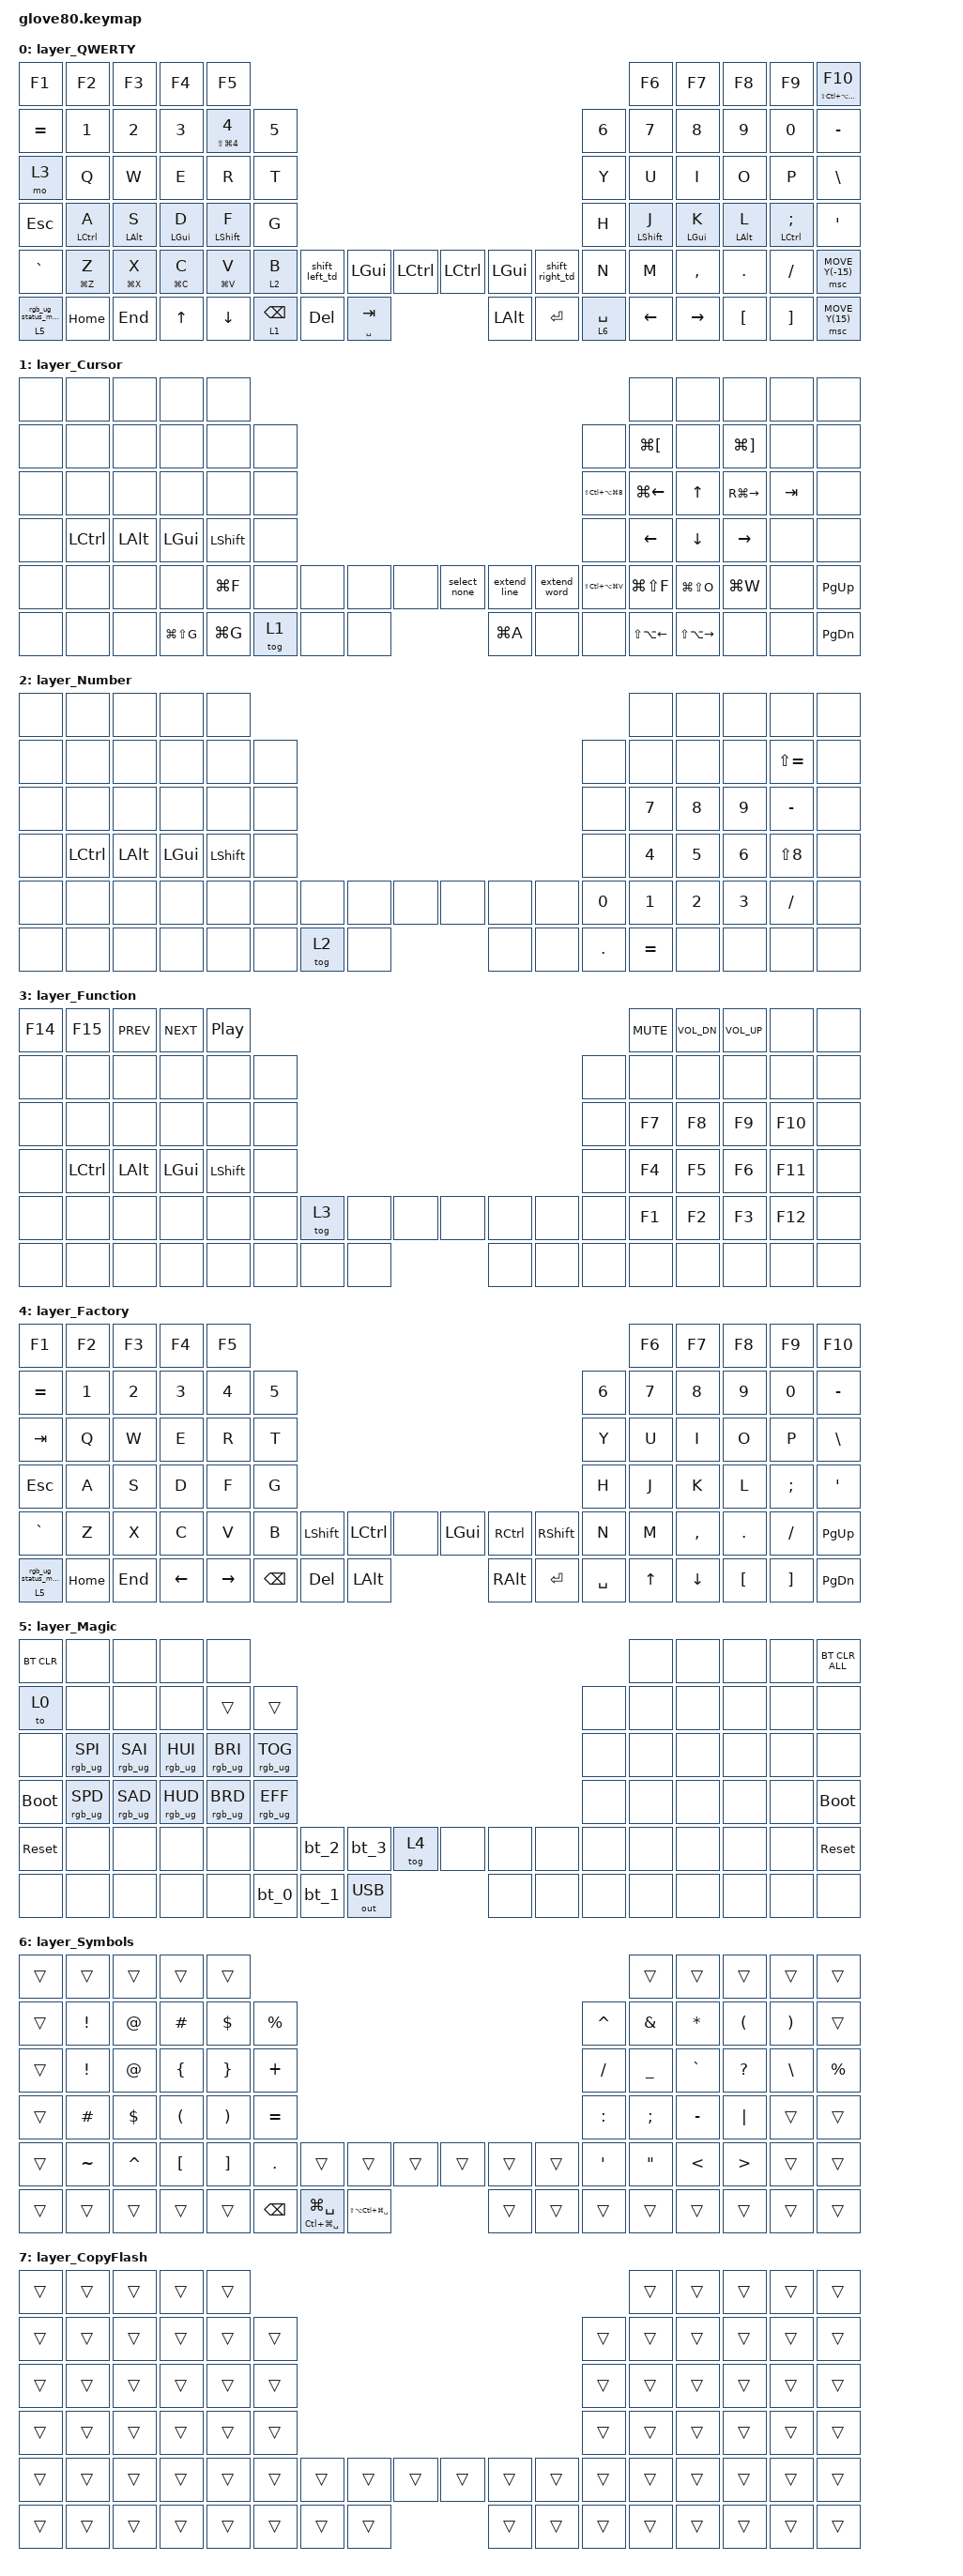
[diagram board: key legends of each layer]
#include <dt-bindings/zmk/rgb_colors.h>
#include <input/processors.dtsi>
#include <behaviors.dtsi>
#include <dt-bindings/zmk/bt.h>
#include <dt-bindings/zmk/keys.h>
#include <dt-bindings/zmk/outputs.h>
#include <dt-bindings/zmk/pointing.h>
#include <dt-bindings/zmk/rgb.h>

/* Per-key RGB underglow */

/ {
    underglow-layer {
        compatible = "zmk,underglow-layer";

        BaseLayer {
            bindings = <
&ug BLACK  &ug BLACK  &ug BLACK  &ug BLACK  &ug BLACK                                                     &ug BLACK  &ug BLACK  &ug BLACK  &ug BLACK  &ug 0x00FF80
&ug BLACK  &ug BLACK  &ug BLACK  &ug BLACK  &ug 0x00FF80  &ug BLACK                                   &ug BLACK  &ug BLACK  &ug BLACK  &ug BLACK  &ug BLACK  &ug BLACK
&ug 0x94E3FE  &ug BLACK  &ug BLACK  &ug BLACK  &ug BLACK  &ug BLACK                                   &ug BLACK  &ug BLACK  &ug BLACK  &ug BLACK  &ug BLACK  &ug BLACK
&ug BLACK  &ug 0xFF00FF  &ug 0x00FFFF  &ug 0xFF6600  &ug YELLOW  &ug BLACK                                   &ug BLACK  &ug YELLOW  &ug 0xFF6600  &ug 0x00FFFF  &ug 0xFF00FF  &ug BLACK
&ug BLACK  &ug 0x4080FF  &ug RED  &ug GREEN  &ug ORANGE  &ug 0xFFE080  &ug_cl BLACK RED  &ug BLACK  &ug BLACK  &ug BLACK  &ug BLACK  &ug_cl BLACK RED  &ug BLACK  &ug BLACK  &ug BLACK  &ug BLACK  &ug BLACK  &ug BLACK
&ug 0x6B1FCE  &ug BLACK  &ug BLACK  &ug BLACK  &ug BLACK          &ug 0x6B1FCE  &ug BLACK  &ug 0x806000  &ug BLACK  &ug BLACK  &ug 0x6B1FCE          &ug BLACK  &ug BLACK  &ug BLACK  &ug BLACK  &ug BLACK
            >;

            layer-id = <0>;
        };

        Cursor {
            bindings = <
&ug BLACK  &ug BLACK  &ug BLACK  &ug BLACK  &ug BLACK                                                     &ug BLACK  &ug BLACK  &ug BLACK  &ug BLACK  &ug BLACK
&ug BLACK  &ug BLACK  &ug BLACK  &ug BLACK  &ug BLACK  &ug BLACK                                   &ug BLACK  &ug 0x00FF80  &ug BLACK  &ug 0x00FF80  &ug BLACK  &ug BLACK
&ug BLACK  &ug BLACK  &ug BLACK  &ug BLACK  &ug BLACK  &ug BLACK                                   &ug BLACK  &ug 0x0040FF  &ug 0xFFE0B0  &ug 0x0040FF  &ug BLACK  &ug BLACK
&ug BLACK   &ug 0xFF00FF  &ug 0x00FFFF  &ug 0xFFFFAA  &ug YELLOW  &ug BLACK                                   &ug BLACK  &ug 0xFFE0B0  &ug 0xFFE0B0  &ug 0xFFE0B0  &ug BLACK  &ug BLACK
&ug_cl BLACK RED     &ug BLACK     &ug BLACK     &ug BLACK     &ug 0x7A00FF  &ug BLACK  &ug BLACK  &ug BLACK  &ug 0xFFD900  &ug 0xFFD900  &ug 0xFFD900  &ug BLACK  &ug ORANGE  &ug 0xFF80BF  &ug 0x00FF80  &ug 0xFFD900  &ug BLACK  &ug_cl 0x99F5FF RED
&ug BLACK     &ug BLACK     &ug BLACK     &ug 0x7A00FF  &ug 0x7A00FF          &ug BLACK  &ug BLACK  &ug BLACK  &ug 0x00FF80  &ug BLACK  &ug BLACK          &ug 0x7A00FF  &ug 0x7A00FF  &ug BLACK     &ug BLACK  &ug 0x99F5FF
            >;

            layer-id = <1>;
        };

        Number {
            bindings = <
&ug BLACK  &ug BLACK  &ug BLACK  &ug BLACK  &ug BLACK                                                     &ug BLACK  &ug BLACK  &ug BLACK  &ug BLACK  &ug BLACK
&ug BLACK  &ug BLACK  &ug BLACK  &ug BLACK  &ug BLACK  &ug BLACK                                   &ug BLACK  &ug BLACK  &ug BLACK  &ug BLACK  &ug GREEN  &ug BLACK
&ug BLACK  &ug BLACK  &ug BLACK  &ug BLACK  &ug BLACK  &ug BLACK                                   &ug BLACK  &ug 0xFFD900  &ug 0xFFD900  &ug 0xFFD900  &ug YELLOW  &ug BLACK
&ug BLACK   &ug 0xFF00FF  &ug 0x00FFFF  &ug 0xFFFFAA  &ug YELLOW  &ug BLACK                                   &ug BLACK  &ug 0xFFD900  &ug 0xFF7C4D  &ug 0xFFD900  &ug BLUE  &ug BLACK
&ug BLACK         &ug BLACK  &ug BLACK  &ug BLACK  &ug BLACK  &ug BLACK  &ug BLACK  &ug BLACK  &ug BLACK  &ug BLACK  &ug BLACK  &ug BLACK  &ug 0xFFD900  &ug 0xFFD900  &ug 0xFFD900  &ug 0xFFD900  &ug RED  &ug BLACK
&ug BLACK  &ug BLACK  &ug BLACK  &ug BLACK  &ug BLACK          &ug BLACK  &ug RED  &ug BLACK  &ug BLACK  &ug BLACK  &ug 0xFF80BF          &ug 0x00FF80  &ug BLACK  &ug BLACK  &ug BLACK  &ug BLACK
            >;

            layer-id = <2>;
        };

        Function {
            bindings = <
&ug 0x94E3FE  &ug 0x94E3FE  &ug 0x94E3FE  &ug 0x94E3FE  &ug 0x94E3FE                                                     &ug 0x94E3FE  &ug 0x94E3FE  &ug 0x94E3FE  &ug BLACK  &ug BLACK
&ug BLACK  &ug BLACK  &ug BLACK  &ug BLACK  &ug BLACK  &ug BLACK                                   &ug BLACK  &ug BLACK  &ug BLACK  &ug BLACK  &ug BLACK  &ug BLACK
&ug BLACK  &ug BLACK  &ug BLACK  &ug BLACK  &ug BLACK  &ug BLACK                                   &ug BLACK  &ug 0xFFFF00  &ug 0xFFD900  &ug 0xFFD900  &ug 0xFF80BF  &ug BLACK
&ug BLACK   &ug 0xFF00FF  &ug 0x00FFFF  &ug 0xFFFFAA  &ug YELLOW  &ug BLACK                                   &ug BLACK  &ug 0x00FFFF  &ug 0x99F5FF  &ug 0x99F5FF  &ug 0xFF80BF  &ug BLACK
&ug BLACK         &ug BLACK  &ug BLACK  &ug BLACK  &ug BLACK  &ug BLACK  &ug RED  &ug BLACK  &ug BLACK  &ug BLACK  &ug BLACK  &ug BLACK  &ug BLACK  &ug 0x00FF00  &ug 0x00FF80  &ug 0x00FF80  &ug 0xFF80BF  &ug BLACK
&ug BLACK  &ug BLACK  &ug BLACK  &ug BLACK  &ug BLACK          &ug BLACK  &ug BLACK  &ug BLACK  &ug BLACK  &ug BLACK  &ug BLACK          &ug BLACK  &ug BLACK  &ug BLACK  &ug BLACK  &ug BLACK
            >;

            layer-id = <3>;
        };

        Factory {
            bindings = <
&ug BLACK  &ug BLACK  &ug BLACK  &ug BLACK  &ug BLACK                                                     &ug BLACK  &ug BLACK  &ug BLACK  &ug BLACK  &ug BLACK
&ug BLACK  &ug BLACK  &ug BLACK  &ug BLACK  &ug BLACK  &ug BLACK                                   &ug BLACK  &ug BLACK  &ug BLACK  &ug BLACK  &ug BLACK  &ug BLACK
&ug BLACK  &ug BLACK  &ug BLACK  &ug BLACK  &ug BLACK  &ug BLACK                                   &ug BLACK  &ug BLACK  &ug BLACK  &ug BLACK  &ug BLACK  &ug BLACK
&ug BLACK  &ug BLACK  &ug BLACK  &ug BLACK  &ug BLACK  &ug BLACK                                   &ug BLACK  &ug BLACK  &ug BLACK  &ug BLACK  &ug BLACK  &ug BLACK
&ug_cl BLACK RED  &ug BLACK  &ug BLACK  &ug BLACK  &ug BLACK  &ug BLACK  &ug BLACK  &ug BLACK  &ug RED  &ug BLACK  &ug BLACK  &ug BLACK  &ug BLACK  &ug BLACK  &ug BLACK  &ug BLACK  &ug BLACK  &ug_cl BLACK RED
&ug RED  &ug BLACK  &ug BLACK  &ug BLACK  &ug BLACK          &ug BLACK  &ug BLACK  &ug BLACK  &ug BLACK  &ug BLACK  &ug BLACK          &ug BLACK  &ug BLACK  &ug BLACK  &ug BLACK  &ug BLACK
            >;

            layer-id = <4>;
        };

        Symbols {
            bindings = <
&ug BLACK  &ug BLACK  &ug BLACK  &ug BLACK  &ug BLACK                                                     &ug BLACK  &ug BLACK  &ug BLACK  &ug BLACK  &ug BLACK
&ug BLACK  &ug WHITE  &ug WHITE  &ug WHITE  &ug WHITE  &ug WHITE                                   &ug WHITE  &ug WHITE  &ug WHITE  &ug WHITE  &ug WHITE  &ug BLACK
&ug BLACK  &ug 0xFFD900  &ug 0xFFD900  &ug 0x7A00FF  &ug 0x7A00FF  &ug 0x00FF80                                   &ug 0x00FF80  &ug 0x00FF80  &ug 0xFFD900  &ug 0xFFD900  &ug 0xFFD900  &ug 0xFFD900
&ug BLACK  &ug 0xFFD900  &ug 0xFFD900  &ug 0x7A00FF  &ug 0x7A00FF  &ug 0x00FF80                                   &ug 0x99F5FF  &ug 0x99F5FF  &ug 0x00FF80  &ug 0x00FF80  &ug BLACK  &ug BLACK
&ug_cl BLACK RED  &ug 0x00FF80  &ug 0x00FF80  &ug 0x7A00FF  &ug 0x7A00FF  &ug 0xFFD900  &ug BLACK  &ug BLACK  &ug BLACK  &ug BLACK  &ug BLACK  &ug BLACK  &ug GREEN  &ug GREEN  &ug 0x7A00FF  &ug 0x7A00FF  &ug BLACK  &ug_cl BLACK RED
&ug BLACK  &ug BLACK  &ug BLACK  &ug BLACK  &ug BLACK          &ug WHITE  &ug 0x00FFFF  &ug 0xFF80BF  &ug BLACK  &ug BLACK  &ug BLACK          &ug BLACK  &ug BLACK  &ug BLACK  &ug BLACK  &ug BLACK
            >;

            layer-id = <6>;
        };

        CopyFlash {
            bindings = <
&ug 0x804020  &ug 0x804020  &ug 0x804020  &ug 0x804020  &ug 0x804020                                                     &trans  &trans  &trans  &trans  &trans
&ug 0x804020  &ug 0x804020  &ug 0x804020  &ug 0x804020  &ug 0x804020  &ug 0x804020                                   &trans  &trans  &trans  &trans  &trans  &trans
&ug 0x804020  &ug 0x804020  &ug 0x804020  &ug 0x804020  &ug 0x804020  &ug 0x804020                                   &trans  &trans  &trans  &trans  &trans  &trans
&ug 0x804020  &ug 0x804020  &ug 0x804020  &ug 0x804020  &ug 0x804020  &ug 0x804020                                   &trans  &trans  &trans  &trans  &trans  &trans
&ug 0x804020  &ug 0x804020  &ug 0x804020  &ug 0x804020  &ug 0x804020  &ug 0x804020  &ug 0x804020  &ug 0x804020  &ug 0x804020  &trans  &trans  &trans  &trans  &trans  &trans  &trans  &trans  &trans
&ug 0x804020  &ug 0x804020  &ug 0x804020  &ug 0x804020  &ug 0x804020          &ug 0x804020  &ug 0x804020  &ug 0x804020  &trans  &trans  &trans          &trans  &trans  &trans  &trans  &trans
            >;

            layer-id = <7>;
        };

        Magic {
            bindings = <
&ug RED  &ug BLACK  &ug BLACK  &ug BLACK  &ug BLACK                                                     &ug BLACK  &ug BLACK  &ug BLACK  &ug BLACK  &ug RED
&ug 0xFFFFAA  &ug BLACK  &ug BLACK  &ug BLACK  &ug BLACK  &ug BLACK                                   &ug BLACK  &ug BLACK  &ug BLACK  &ug BLACK  &ug BLACK  &ug BLACK
&ug BLACK  &ug GREEN  &ug GREEN  &ug GREEN  &ug GREEN  &ug GREEN                                   &ug BLACK  &ug BLACK  &ug BLACK  &ug BLACK  &ug BLACK  &ug BLACK
&ug RED  &ug GREEN  &ug GREEN  &ug GREEN  &ug GREEN  &ug GREEN                                   &ug BLACK  &ug BLACK  &ug BLACK  &ug BLACK  &ug BLACK  &ug RED
&ug RED  &ug BLACK  &ug BLACK  &ug BLACK  &ug BLACK  &ug BLACK  &ug 0x00FFFF  &ug 0x00FFFF  &ug RED  &ug BLACK  &ug BLACK  &ug BLACK  &ug BLACK  &ug BLACK  &ug BLACK  &ug BLACK  &ug BLACK  &ug RED
&ug BLACK  &ug BLACK  &ug BLACK  &ug BLACK  &ug BLACK          &ug 0x00FFFF  &ug 0x00FFFF  &ug BLUE  &ug BLACK  &ug BLACK  &ug BLACK          &ug BLACK  &ug BLACK  &ug BLACK  &ug BLACK  &ug BLACK
            >;

            layer-id = <5>;
        };
    };
};

/* Custom behaviors */

/ {
    macros {
        tap_once: tap_once {
            compatible = "zmk,behavior-macro-one-param";
            #binding-cells = <1>;
            wait-ms = <0>;
            tap-ms = <30>;
            bindings = <&macro_param_1to1>, <&kp 0>;
        };

        copy_flash: copy_flash {
            compatible = "zmk,behavior-macro-one-param";
            #binding-cells = <1>;
            wait-ms = <0>;
            tap-ms = <30>;
            bindings = <&tog 7>, <&macro_param_1to1>, <&kp 0>, <&macro_wait_time 150>, <&tog 7>;
        };
    };

    behaviors {
        kp_ht: kp_ht {
            compatible = "zmk,behavior-hold-tap";
            #binding-cells = <2>;
            tapping-term-ms = <200>;
            quick-tap-ms = <175>;
            require-prior-idle-ms = <150>;
            flavor = "tap-preferred";
            bindings = <&tap_once>, <&kp>;
        };

        flash_ht: flash_ht {
            compatible = "zmk,behavior-hold-tap";
            #binding-cells = <2>;
            tapping-term-ms = <200>;
            quick-tap-ms = <175>;
            require-prior-idle-ms = <150>;
            flavor = "tap-preferred";
            bindings = <&copy_flash>, <&kp>;
        };

        ht_300: ht_300 {
            compatible = "zmk,behavior-hold-tap";
            #binding-cells = <2>;
            tapping-term-ms = <300>;
            flavor = "tap-preferred";
            bindings = <&kp>, <&kp>;
        };
    };
};

/ {
    behaviors {
        shift_left_td: shift_left_td {
            compatible = "zmk,behavior-tap-dance";
            #binding-cells = <0>;
            tapping-term-ms = <200>;
            bindings = <&sticky_key_modtap LSHFT LSHFT>, <&kp CAPS>;
        };

        shift_right_td: shift_right_td {
            compatible = "zmk,behavior-tap-dance";
            #binding-cells = <0>;
            tapping-term-ms = <200>;
            bindings = <&sticky_key_modtap RSHFT RSHFT>, <&kp CAPS>;
        };
    };
};

/ {
    behaviors {
        magic: magic {
            compatible = "zmk,behavior-hold-tap";
            #binding-cells = <2>;
            flavor = "tap-preferred";
            tapping-term-ms = <200>;
            bindings = <&mo>, <&rgb_ug_status_macro>;
        };
    };
};

/ {
    behaviors {
        left_pinky: homey_left_pinky {
            compatible = "zmk,behavior-hold-tap";
            flavor = "balanced";
            tapping-term-ms = <280>;
            quick-tap-ms = <175>;
            require-prior-idle-ms = <150>;
            hold-trigger-key-positions = <5 6 7 8 9 16 17 18 19 20 21 28 29 30 31 32 33 40 41 42 43 44 45 58 59 60 61 62 63 75 76 77 78 79 57 74 56 73 55 72>;
            hold-trigger-on-release;
            #binding-cells = <2>;
            bindings = <&kp>, <&kp>;
        };

        right_pinky: homey_right_pinky {
            compatible = "zmk,behavior-hold-tap";
            flavor = "balanced";
            tapping-term-ms = <280>;
            quick-tap-ms = <175>;
            require-prior-idle-ms = <150>;
            hold-trigger-key-positions = <0 1 2 3 4 10 11 12 13 14 15 22 23 24 25 26 27 34 35 36 37 38 39 46 47 48 49 50 51 64 65 66 67 68 69 52 70 53 71 54>;
            hold-trigger-on-release;
            #binding-cells = <2>;
            bindings = <&kp>, <&kp>;
        };

        left_ringy: homey_left_ringy {
            compatible = "zmk,behavior-hold-tap";
            flavor = "balanced";
            tapping-term-ms = <280>;
            quick-tap-ms = <175>;
            require-prior-idle-ms = <150>;
            hold-trigger-key-positions = <5 6 7 8 9 16 17 18 19 20 21 28 29 30 31 32 33 40 41 42 43 44 45 58 59 60 61 62 63 75 76 77 78 79 57 74 56 73 55 72>;
            hold-trigger-on-release;
            #binding-cells = <2>;
            bindings = <&kp>, <&kp>;
        };

        right_ringy: homey_right_ringy {
            compatible = "zmk,behavior-hold-tap";
            flavor = "balanced";
            tapping-term-ms = <280>;
            quick-tap-ms = <175>;
            require-prior-idle-ms = <150>;
            hold-trigger-key-positions = <0 1 2 3 4 10 11 12 13 14 15 22 23 24 25 26 27 34 35 36 37 38 39 46 47 48 49 50 51 64 65 66 67 68 69 52 70 53 71 54>;
            hold-trigger-on-release;
            #binding-cells = <2>;
            bindings = <&kp>, <&kp>;
        };

        left_middy: homey_left_middy {
            compatible = "zmk,behavior-hold-tap";
            flavor = "balanced";
            tapping-term-ms = <280>;
            quick-tap-ms = <175>;
            require-prior-idle-ms = <150>;
            hold-trigger-key-positions = <5 6 7 8 9 16 17 18 19 20 21 28 29 30 31 32 33 40 41 42 43 44 45 58 59 60 61 62 63 75 76 77 78 79 57 74 56 73 55 72>;
            hold-trigger-on-release;
            #binding-cells = <2>;
            bindings = <&kp>, <&kp>;
        };

        right_middy: homey_right_middy {
            compatible = "zmk,behavior-hold-tap";
            flavor = "balanced";
            tapping-term-ms = <280>;
            quick-tap-ms = <175>;
            require-prior-idle-ms = <150>;
            hold-trigger-key-positions = <0 1 2 3 4 10 11 12 13 14 15 22 23 24 25 26 27 34 35 36 37 38 39 46 47 48 49 50 51 64 65 66 67 68 69 52 70 53 71 54>;
            hold-trigger-on-release;
            #binding-cells = <2>;
            bindings = <&kp>, <&kp>;
        };

        left_index: homey_left_index {
            compatible = "zmk,behavior-hold-tap";
            flavor = "balanced";
            tapping-term-ms = <280>;
            quick-tap-ms = <175>;
            require-prior-idle-ms = <150>;
            hold-trigger-key-positions = <5 6 7 8 9 16 17 18 19 20 21 28 29 30 31 32 33 40 41 42 43 44 45 58 59 60 61 62 63 75 76 77 78 79 57 74 56 73 55 72>;
            hold-trigger-on-release;
            #binding-cells = <2>;
            bindings = <&kp>, <&kp>;
        };

        right_index: homey_right_index {
            compatible = "zmk,behavior-hold-tap";
            flavor = "balanced";
            tapping-term-ms = <280>;
            quick-tap-ms = <175>;
            require-prior-idle-ms = <150>;
            hold-trigger-key-positions = <0 1 2 3 4 10 11 12 13 14 15 22 23 24 25 26 27 34 35 36 37 38 39 46 47 48 49 50 51 64 65 66 67 68 69 52 70 53 71 54>;
            hold-trigger-on-release;
            #binding-cells = <2>;
            bindings = <&kp>, <&kp>;
        };
    };
};

/ {
    behaviors {
        sticky_key_modtap: sticky_key_modtap {
            compatible = "zmk,behavior-hold-tap";
            flavor = "tap-preferred";
            tapping-term-ms = <200>;
            #binding-cells = <2>;
            bindings = <&kp>, <&sticky_key_oneshot>;
        };

        sticky_key_oneshot: sticky_key_oneshot_macro {
            compatible = "zmk,behavior-macro-one-param";
            wait-ms = <0>;
            tap-ms = <0>;
            #binding-cells = <1>;
            bindings =
                <&macro_param_1to1>,
                <&macro_tap>,
                <&sticky_key_quickrel MACRO_PLACEHOLDER>;
        };

        sticky_key_quickrel: sticky_key_quick_release {
            compatible = "zmk,behavior-sticky-key";
            #binding-cells = <1>;
            bindings = <&kp>;
            release-after-ms = <500>;
            quick-release;
            ignore-modifiers;
        };
    };
};

/ {
    behaviors {
        caps_word {
            continue-list = <
                UNDERSCORE MINUS
                BACKSPACE DELETE
                N1 N2 N3 N4 N5 N6 N7 N8 N9 N0
            >;
        };
    };
};

/* Custom macros */

/ {
    macros {
        rgb_ug_status_macro: rgb_ug_status_macro {
            compatible = "zmk,behavior-macro";
            #binding-cells = <0>;
            bindings = <&rgb_ug RGB_STATUS>;
        };
    };
};

/ {
    macros {
        bt_0: bt_0 {
            compatible = "zmk,behavior-macro";
            #binding-cells = <0>;
            bindings = <&out OUT_BLE &bt BT_SEL 0>;
        };

        bt_1: bt_1 {
            compatible = "zmk,behavior-macro";
            #binding-cells = <0>;
            bindings = <&out OUT_BLE &bt BT_SEL 1>;
        };

        bt_2: bt_2 {
            compatible = "zmk,behavior-macro";
            #binding-cells = <0>;
            bindings = <&out OUT_BLE &bt BT_SEL 2>;
        };

        bt_3: bt_3 {
            compatible = "zmk,behavior-macro";
            #binding-cells = <0>;
            bindings = <&out OUT_BLE &bt BT_SEL 3>;
        };
    };
};

/* Mouse key overrides */

&mmv {
    delay-ms = <0>;
    acceleration-exponent = <1>;
    time-to-max-speed-ms = <300>;
};

&msc {
    delay-ms = <0>;
    acceleration-exponent = <0>;
    time-to-max-speed-ms = <300>;
};

/* Automatically generated macro definitions */

/ {
    macros {
        select_none: select_none {
            compatible = "zmk,behavior-macro";
            #binding-cells = <0>;
            wait-ms = <1>;
            tap-ms = <1>;
            bindings = <&kp DOWN &kp UP &kp RIGHT &kp LEFT>;
        };

        select_word_right: select_word_right {
            compatible = "zmk,behavior-macro";
            #binding-cells = <0>;
            wait-ms = <1>;
            tap-ms = <1>;
            bindings = <&kp LA(RIGHT) &kp LA(LEFT) &kp LA(LS(RIGHT))>;
        };

        select_word_left: select_word_left {
            compatible = "zmk,behavior-macro";
            #binding-cells = <0>;
            wait-ms = <1>;
            tap-ms = <1>;
            bindings = <&kp LA(LEFT) &kp LA(RIGHT) &kp LA(LS(LEFT))>;
        };

        select_line_right: select_line_right {
            compatible = "zmk,behavior-macro";
            #binding-cells = <0>;
            wait-ms = <1>;
            tap-ms = <1>;
            bindings = <&kp LG(LEFT) &kp LS(LG(RIGHT))>;
        };

        select_line_left: select_line_left {
            compatible = "zmk,behavior-macro";
            #binding-cells = <0>;
            wait-ms = <1>;
            tap-ms = <1>;
            bindings = <&kp LG(RIGHT) &kp LS(LG(LEFT))>;
        };

        extend_word_right: extend_word_right {
            compatible = "zmk,behavior-macro";
            #binding-cells = <0>;
            wait-ms = <1>;
            tap-ms = <1>;
            bindings = <&kp LA(LS(RIGHT))>;
        };

        extend_word_left: extend_word_left {
            compatible = "zmk,behavior-macro";
            #binding-cells = <0>;
            wait-ms = <1>;
            tap-ms = <1>;
            bindings = <&kp LA(LS(LEFT))>;
        };

        extend_line_right: extend_line_right {
            compatible = "zmk,behavior-macro";
            #binding-cells = <0>;
            wait-ms = <1>;
            tap-ms = <1>;
            bindings = <&kp LS(DOWN) &kp LS(LG(RIGHT))>;
        };

        extend_line_left: extend_line_left {
            compatible = "zmk,behavior-macro";
            #binding-cells = <0>;
            wait-ms = <1>;
            tap-ms = <1>;
            bindings = <&kp LS(UP) &kp LS(LG(LEFT))>;
        };
    };
};

/* Automatically generated behavior definitions */

/ {
    behaviors {
        select_word: select_word {
            compatible = "zmk,behavior-mod-morph";
            #binding-cells = <0>;
            bindings = <&select_word_right>, <&select_word_left>;

            mods = <(MOD_LSFT|MOD_RSFT)>;
        };

        select_line: select_line {
            compatible = "zmk,behavior-mod-morph";
            #binding-cells = <0>;
            bindings = <&select_line_right>, <&select_line_left>;

            mods = <(MOD_LSFT|MOD_RSFT)>;
        };

        extend_word: extend_word {
            compatible = "zmk,behavior-mod-morph";
            #binding-cells = <0>;
            bindings = <&extend_word_right>, <&extend_word_left>;

            mods = <(MOD_LSFT|MOD_RSFT)>;
        };

        extend_line: extend_line {
            compatible = "zmk,behavior-mod-morph";
            #binding-cells = <0>;
            bindings = <&extend_line_right>, <&extend_line_left>;

            mods = <(MOD_LSFT|MOD_RSFT)>;
        };

        fn_emoji_td: fn_emoji_td {
            compatible = "zmk,behavior-tap-dance";
            #binding-cells = <0>;
            tapping-term-ms = <200>;
            bindings = <&mo 3>, <&kp LC(LG(SPACE))>;
        };
    };
};

/* Automatically generated combos definitions */
/* Automatically generated keymap */

/ {
    keymap {
        compatible = "zmk,keymap";

        layer_QWERTY {
            bindings = <
&kp F1                     &kp F2               &kp F3              &kp F4              &kp F5                                                                                                                     &kp F6                &kp F7               &kp F8               &kp F9                   &kp_ht LS(LC(LA(LG(F10)))) F10
&kp EQUAL                  &kp N1               &kp N2              &kp N3              &mt LS(LG(N4)) NUMBER_4  &kp N5                                                                                    &kp N6  &kp N7                &kp N8               &kp N9               &kp N0                   &kp MINUS
&mo 3                      &kp Q                &kp W               &kp E               &kp R                    &kp T                                                                                   &kp Y   &kp U                 &kp I                &kp O                &kp P                    &kp BACKSLASH
&kp ESCAPE                 &left_pinky LCTRL A  &left_ringy LALT S  &left_middy LGUI D  &left_index LSHFT F      &kp G                                                                                   &kp H   &right_index LSHFT J  &right_middy LGUI K  &right_ringy LALT L  &right_pinky LCTRL SEMI  &kp SQT
&kp GRAVE                  &kp_ht LG(Z) Z      &kp_ht LG(X) X      &flash_ht LG(C) C    &kp_ht LG(V) V           &lt 2 B  &shift_left_td  &kp LGUI  &kp LCTRL      &kp LCTRL  &kp LGUI  &shift_right_td  &kp N   &kp M                 &kp COMMA            &kp DOT              &kp FSLH                 &msc MOVE_Y(-15)
&magic 5 0                 &kp HOME             &kp END             &kp UP_ARROW        &kp DOWN                      &lt 1 BACKSPACE  &kp DELETE  &mt SPACE TAB  &kp LALT  &kp ENTER  &lt 6 SPACE          &kp LEFT              &kp RIGHT            &kp LBKT                        &kp RBKT                 &msc MOVE_Y(15)
            >;
        };

        layer_Cursor {
            bindings = <
&none      &none      &none          &none          &none                                                                                        &none         &none          &none          &none      &none
&none      &none      &none          &none          &none      &none                                                                  &none      &kp LG(LBKT)  &none          &kp LG(RBKT)   &none      &none
&none      &none      &none          &none          &none      &none                                                                  &kp LS(LC(LA(LG(N8))))  &kp LG(LEFT)  &kp UP_ARROW   &kp RG(RIGHT)  &kp TAB    &none
&none      &kp LCTRL  &kp LALT       &kp LGUI       &kp LSHFT  &none                                                                  &none  &kp LEFT      &kp DOWN       &kp RIGHT      &none      &none
&none      &none      &none          &none          &kp LG(F)  &none  &none   &none  &none  &select_none  &extend_line  &extend_word  &kp LS(LC(LA(LG(V))))  &kp LG(LS(F))  &kp LG(LS(O))  &kp LG(W)      &none      &kp PAGE_UP
&none      &none      &none          &kp LG(LS(G))  &kp LG(G)         &tog 1  &none  &none  &kp LG(A)     &none         &none                    &kp LS(LA(LEFT))  &kp LS(LA(RIGHT))  &none      &none      &kp PAGE_DOWN
            >;
        };

        layer_Number {
            bindings = <
&none      &none      &none     &none     &none                                                                   &none      &none   &none   &none          &none
&none      &none      &none     &none     &none      &none                                                 &none  &none      &none   &none   &kp LS(EQUAL)  &none
&none      &none      &none     &none     &none      &none                                                 &none  &kp N7     &kp N8  &kp N9  &kp MINUS      &none
&none      &kp LCTRL  &kp LALT  &kp LGUI  &kp LSHFT  &none                                                 &none  &kp N4     &kp N5  &kp N6  &kp LS(N8)     &none
&none      &none      &none     &none     &none      &none  &none  &none   &none  &none  &none    &none  &kp N0  &kp N1     &kp N2  &kp N3  &kp FSLH       &none
&none      &none      &none     &none     &none             &none  &tog 2  &none  &none  &none  &kp DOT          &kp EQUAL  &none   &none   &none          &none
            >;
        };

        layer_Function {
            bindings = <
&kp F14    &kp F15    &kp C_PREV  &kp C_NEXT  &kp C_PP                                                            &kp C_MUTE  &kp C_VOL_DN  &kp C_VOL_UP  &none    &none
&none      &none      &none       &none       &none      &none                                             &none  &none       &none         &none         &none    &none
&none      &none      &none       &none       &none      &none                                             &none  &kp F7      &kp F8        &kp F9        &kp F10  &none
&none      &kp LCTRL  &kp LALT    &kp LGUI    &kp LSHFT  &none                                             &none  &kp F4      &kp F5        &kp F6        &kp F11  &none
&none      &none      &none       &none       &none      &none  &tog 3  &none  &none  &none  &none  &none  &none  &kp F1      &kp F2        &kp F3        &kp F12  &none
&none      &none      &none       &none       &none             &none   &none  &none  &none  &none  &none         &none       &none         &none         &none    &none
            >;
        };

        layer_Factory {
            bindings = <
&kp F1      &kp F2    &kp F3   &kp F4    &kp F5                                                                                     &kp F6  &kp F7     &kp F8    &kp F9    &kp F10
&kp EQUAL   &kp N1    &kp N2   &kp N3    &kp N4     &kp N5                                                                  &kp N6  &kp N7  &kp N8     &kp N9    &kp N0    &kp MINUS
&kp TAB     &kp Q     &kp W    &kp E     &kp R      &kp T                                                                   &kp Y   &kp U   &kp I      &kp O     &kp P     &kp BSLH
&kp ESC     &kp A     &kp S    &kp D     &kp F      &kp G                                                                   &kp H   &kp J   &kp K      &kp L     &kp SEMI  &kp SQT
&kp GRAVE   &kp Z     &kp X    &kp C     &kp V      &kp B   &kp LSHFT  &kp LCTRL  &none     &kp LGUI  &kp RCTRL  &kp RSHFT  &kp N   &kp M   &kp COMMA  &kp DOT   &kp FSLH  &kp PG_UP
&magic 5 0  &kp HOME  &kp END  &kp LEFT  &kp RIGHT          &kp BSPC   &kp DEL    &kp LALT  &kp RALT  &kp RET    &kp SPACE          &kp UP  &kp DOWN   &kp LBKT  &kp RBKT  &kp PG_DN
            >;
        };

        layer_Magic {
            bindings = <
&bt BT_CLR   &none            &none            &none            &none                                                                                     &none  &none  &none  &none  &bt BT_CLR_ALL
&to 0        &none            &none            &none            &trans           &trans                                                            &none  &none  &none  &none  &none  &none
&none        &rgb_ug RGB_SPI  &rgb_ug RGB_SAI  &rgb_ug RGB_HUI  &rgb_ug RGB_BRI  &rgb_ug RGB_TOG                                                   &none  &none  &none  &none  &none  &none
&bootloader  &rgb_ug RGB_SPD  &rgb_ug RGB_SAD  &rgb_ug RGB_HUD  &rgb_ug RGB_BRD  &rgb_ug RGB_EFF                                                   &none  &none  &none  &none  &none  &bootloader
&sys_reset   &none            &none            &none            &none            &none            &bt_2  &bt_3  &tog 4        &none  &none  &none  &none  &none  &none  &none  &none  &sys_reset
&none        &none            &none            &none            &none                             &bt_0  &bt_1  &out OUT_USB  &none  &none  &none         &none  &none  &none  &none  &none
            >;
        };

        layer_Symbols {
            bindings = <
&trans  &trans           &trans       &trans                &trans                                                                                         &trans             &trans         &trans                &trans                 &trans
&trans  &kp EXCLAMATION  &kp AT_SIGN  &kp HASH              &kp DOLLAR             &kp PERCENT                                                  &kp CARET  &kp AMPERSAND      &kp ASTERISK   &kp LEFT_PARENTHESIS  &kp RIGHT_PARENTHESIS  &trans
&trans  &kp EXCLAMATION  &kp AT_SIGN  &kp LEFT_BRACE        &kp RIGHT_BRACE        &kp PLUS                                                     &kp FSLH   &kp UNDERSCORE     &kp GRAVE      &kp QUESTION          &kp BSLH               &kp PERCENT
&trans  &kp HASH         &kp DOLLAR   &kp LEFT_PARENTHESIS  &kp RIGHT_PARENTHESIS  &kp EQUAL                                                    &kp COLON  &kp SEMI           &kp MINUS      &kp PIPE              &trans                 &trans
&trans  &kp TILDE        &kp CARET    &kp LEFT_BRACKET      &kp RIGHT_BRACKET      &kp DOT      &trans  &trans  &trans  &trans  &trans  &trans  &kp SQT    &kp DOUBLE_QUOTES  &kp LESS_THAN  &kp GREATER_THAN      &trans                 &trans
&trans  &trans           &trans       &trans                &trans                              &kp BACKSPACE  &ht_300 LC(LG(SPACE)) LG(SPACE)  &kp LS(LA(LC(LG(SPACE))))  &trans  &trans  &trans             &trans             &trans         &trans                &trans                 &trans
            >;
        };

        layer_CopyFlash {
            bindings = <
&trans  &trans  &trans  &trans  &trans                                                                  &trans  &trans  &trans  &trans  &trans
&trans  &trans  &trans  &trans  &trans  &trans                                   &trans  &trans  &trans  &trans  &trans  &trans
&trans  &trans  &trans  &trans  &trans  &trans                                   &trans  &trans  &trans  &trans  &trans  &trans
&trans  &trans  &trans  &trans  &trans  &trans                                   &trans  &trans  &trans  &trans  &trans  &trans
&trans  &trans  &trans  &trans  &trans  &trans  &trans  &trans  &trans  &trans  &trans  &trans  &trans  &trans  &trans  &trans  &trans  &trans
&trans  &trans  &trans  &trans  &trans          &trans  &trans  &trans  &trans  &trans  &trans          &trans  &trans  &trans  &trans  &trans
            >;
        };
    };
};
